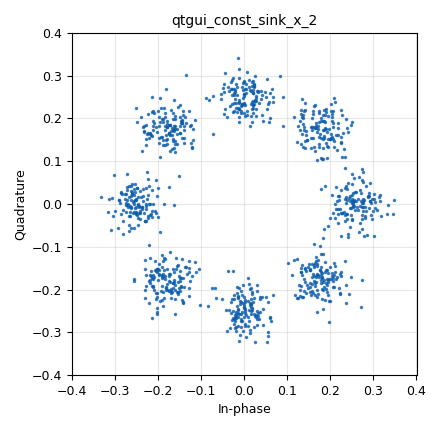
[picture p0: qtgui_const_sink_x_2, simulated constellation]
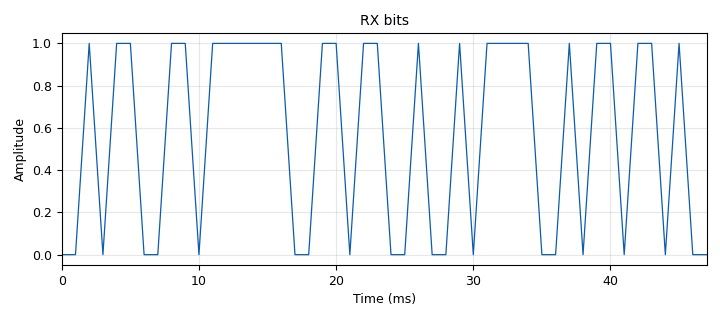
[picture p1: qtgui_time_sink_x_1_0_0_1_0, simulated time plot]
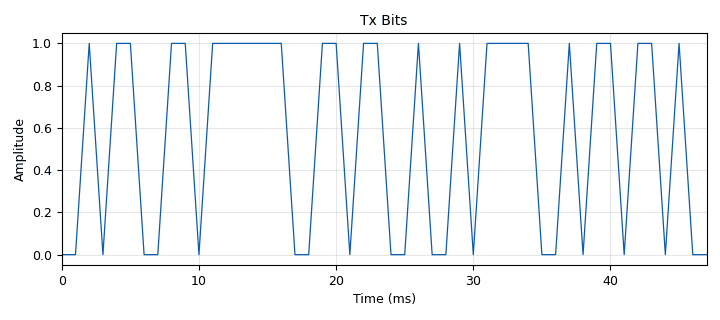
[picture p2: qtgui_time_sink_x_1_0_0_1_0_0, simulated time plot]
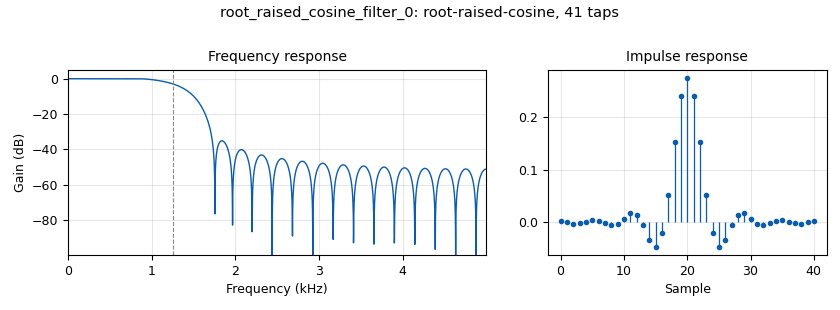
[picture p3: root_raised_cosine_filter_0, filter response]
<?xml version='1.0' encoding='utf-8'?>
<?grc format='1' created='3.7.10'?>
<flow_graph>
<block>
<key>options</key>
<param><key>id</key><value>top_block</value></param>
<param><key>category</key><value>Custom</value></param>
<param><key>generate_options</key><value>qt_gui</value></param>
</block>
<block>
<key>variable</key>
<param><key>id</key><value>EbN0</value></param>
<param><key>value</key><value>10</value></param>
</block>
<block>
<key>variable</key>
<param><key>id</key><value>samp_rate</value></param>
<param><key>value</key><value>10000</value></param>
</block>
<block>
<key>variable_constellation</key>
<param><key>id</key><value>variable_constellation_0</value></param>
<param><key>const_points</key><value>[0.707+0.707j, -0.707+0.707j, -0.707-0.707j, 0.707-0.707j]</value></param>
<param><key>dims</key><value>1</value></param>
<param><key>rot_sym</key><value>4</value></param>
<param><key>precision</key><value>16</value></param>
<param><key>sym_map</key><value>[0, 1, 2, 3]</value></param>
</block>
<block>
<key>variable_constellation</key>
<param><key>id</key><value>variable_constellation_0_0</value></param>
<param><key>const_points</key><value>[0.707+0.707j, -0.707-0.707j]</value></param>
<param><key>dims</key><value>1</value></param>
<param><key>rot_sym</key><value>4</value></param>
<param><key>precision</key><value>16</value></param>
<param><key>sym_map</key><value>[0, 1]</value></param>
</block>
<block>
<key>variable_constellation</key>
<param><key>id</key><value>variable_constellation_0_1</value></param>
<param><key>const_points</key><value>[1+0j,0.707+0.707j, -0.707+0.707j, 0+1j, 0.707-0.707j, 0-1j, -1+0j, -0.707-0.707j]</value></param>
<param><key>dims</key><value>1</value></param>
<param><key>rot_sym</key><value>4</value></param>
<param><key>precision</key><value>16</value></param>
<param><key>sym_map</key><value>[0, 1, 2, 3, 4, 5, 6, 7]</value></param>
</block>
<block>
<key>analog_noise_source_x</key>
<param><key>id</key><value>analog_noise_source_x_0</value></param>
<param><key>amp</key><value>1.0 / math.sqrt(2*2.0 * digital.constellation_8psk().bits_per_symbol() * 10**(EbN0/10))</value></param>
<param><key>noise_type</key><value>analog.GR_GAUSSIAN</value></param>
<param><key>type</key><value>complex</value></param>
<param><key>seed</key><value>0</value></param>
</block>
<block>
<key>analog_random_source_x</key>
<param><key>id</key><value>analog_random_source_x_0</value></param>
<param><key>max</key><value>2</value></param>
<param><key>min</key><value>0</value></param>
<param><key>num_samps</key><value>10000</value></param>
<param><key>type</key><value>byte</value></param>
<param><key>repeat</key><value>True</value></param>
</block>
<block>
<key>blks2_error_rate</key>
<param><key>id</key><value>blks2_error_rate_0</value></param>
<param><key>bits_per_symbol</key><value>2</value></param>
<param><key>type</key><value>'SER'</value></param>
<param><key>win_size</key><value>100000</value></param>
</block>
<block>
<key>blocks_add_xx</key>
<param><key>id</key><value>blocks_add_xx_0</value></param>
<param><key>type</key><value>complex</value></param>
</block>
<block>
<key>blocks_char_to_float</key>
<param><key>id</key><value>blocks_char_to_float_0</value></param>
<param><key>scale</key><value>1</value></param>
</block>
<block>
<key>blocks_char_to_float</key>
<param><key>id</key><value>blocks_char_to_float_0_0</value></param>
<param><key>scale</key><value>1</value></param>
</block>
<block>
<key>blocks_delay</key>
<param><key>id</key><value>blocks_delay_1</value></param>
<param><key>delay</key><value>30</value></param>
<param><key>type</key><value>byte</value></param>
</block>
<block>
<key>blocks_delay</key>
<param><key>id</key><value>blocks_delay_1_0</value></param>
<param><key>delay</key><value>10</value></param>
<param><key>_enabled</key><value>0</value></param>
<param><key>type</key><value>complex</value></param>
</block>
<block>
<key>blocks_pack_k_bits_bb</key>
<param><key>id</key><value>blocks_pack_k_bits_bb_0</value></param>
<param><key>k</key><value>3</value></param>
</block>
<block>
<key>blocks_unpack_k_bits_bb</key>
<param><key>id</key><value>blocks_unpack_k_bits_bb_0</value></param>
<param><key>k</key><value>3</value></param>
</block>
<block>
<key>digital_chunks_to_symbols_xx</key>
<param><key>id</key><value>digital_chunks_to_symbols_xx_0_0</value></param>
<param><key>dimension</key><value>1</value></param>
<param><key>in_type</key><value>byte</value></param>
<param><key>out_type</key><value>complex</value></param>
<param><key>symbol_table</key><value>[1+0j,0.707+0.707j, -0.707+0.707j, 0+1j, 0.707-0.707j, 0-1j, -1+0j, -0.707-0.707j]</value></param>
</block>
<block>
<key>digital_constellation_decoder_cb</key>
<param><key>id</key><value>digital_constellation_decoder_cb_0</value></param>
<param><key>constellation</key><value>variable_constellation_0_1</value></param>
</block>
<block>
<key>import</key>
<param><key>id</key><value>import_0</value></param>
<param><key>import</key><value>import math</value></param>
</block>
<block>
<key>qtgui_const_sink_x</key>
<param><key>id</key><value>qtgui_const_sink_x_0</value></param>
<param><key>autoscale</key><value>True</value></param>
<param><key>_enabled</key><value>0</value></param>
<param><key>size</key><value>6*4+10</value></param>
<param><key>type</key><value>complex</value></param>
</block>
<block>
<key>qtgui_const_sink_x</key>
<param><key>id</key><value>qtgui_const_sink_x_0_0</value></param>
<param><key>autoscale</key><value>True</value></param>
<param><key>_enabled</key><value>0</value></param>
<param><key>size</key><value>6*4+10</value></param>
<param><key>type</key><value>complex</value></param>
</block>
<block>
<key>qtgui_const_sink_x</key>
<param><key>id</key><value>qtgui_const_sink_x_2</value></param>
<param><key>autoscale</key><value>True</value></param>
<param><key>size</key><value>1024</value></param>
<param><key>type</key><value>complex</value></param>
</block>
<block>
<key>qtgui_number_sink</key>
<param><key>id</key><value>qtgui_number_sink_0</value></param>
<param><key>autoscale</key><value>True</value></param>
<param><key>graph_type</key><value>qtgui.NUM_GRAPH_HORIZ</value></param>
<param><key>type</key><value>float</value></param>
<param><key>factor1</key><value>1e4</value></param>
<param><key>label1</key><value>BER</value></param>
<param><key>unit1</key><value>x10^-4</value></param>
<param><key>max</key><value>10</value></param>
<param><key>min</key><value>0</value></param>
</block>
<block>
<key>qtgui_time_sink_x</key>
<param><key>id</key><value>qtgui_time_sink_x_0</value></param>
<param><key>autoscale</key><value>True</value></param>
<param><key>_enabled</key><value>0</value></param>
<param><key>color1</key><value>"blue"</value></param>
<param><key>label1</key><value></value></param>
<param><key>color2</key><value>"red"</value></param>
<param><key>label2</key><value></value></param>
<param><key>name</key><value>"Tx"</value></param>
<param><key>size</key><value>30</value></param>
<param><key>srate</key><value>samp_rate/10</value></param>
<param><key>type</key><value>complex</value></param>
<param><key>update_time</key><value>10</value></param>
</block>
<block>
<key>qtgui_time_sink_x</key>
<param><key>id</key><value>qtgui_time_sink_x_1</value></param>
<param><key>autoscale</key><value>True</value></param>
<param><key>_enabled</key><value>0</value></param>
<param><key>color1</key><value>"blue"</value></param>
<param><key>label1</key><value></value></param>
<param><key>color2</key><value>"red"</value></param>
<param><key>label2</key><value></value></param>
<param><key>name</key><value>"Rx"</value></param>
<param><key>size</key><value>30</value></param>
<param><key>srate</key><value>samp_rate/10</value></param>
<param><key>type</key><value>complex</value></param>
<param><key>update_time</key><value>10</value></param>
</block>
<block>
<key>qtgui_time_sink_x</key>
<param><key>id</key><value>qtgui_time_sink_x_1_0_0_1_0</value></param>
<param><key>autoscale</key><value>True</value></param>
<param><key>color1</key><value>"blue"</value></param>
<param><key>label1</key><value></value></param>
<param><key>name</key><value>"RX bits"</value></param>
<param><key>size</key><value>24*2</value></param>
<param><key>srate</key><value>samp_rate/10</value></param>
<param><key>type</key><value>float</value></param>
<param><key>update_time</key><value>.10</value></param>
</block>
<block>
<key>qtgui_time_sink_x</key>
<param><key>id</key><value>qtgui_time_sink_x_1_0_0_1_0_0</value></param>
<param><key>autoscale</key><value>True</value></param>
<param><key>color1</key><value>"blue"</value></param>
<param><key>label1</key><value></value></param>
<param><key>name</key><value>"Tx Bits"</value></param>
<param><key>size</key><value>24*2</value></param>
<param><key>srate</key><value>samp_rate/10</value></param>
<param><key>type</key><value>float</value></param>
<param><key>update_time</key><value>.10</value></param>
</block>
<block>
<key>root_raised_cosine_filter</key>
<param><key>id</key><value>root_raised_cosine_filter_0</value></param>
<param><key>alpha</key><value>0.35</value></param>
<param><key>type</key><value>interp_fir_filter_ccf</value></param>
<param><key>gain</key><value>1</value></param>
<param><key>interp</key><value>4</value></param>
<param><key>ntaps</key><value>10*4</value></param>
<param><key>samp_rate</key><value>samp_rate</value></param>
<param><key>sym_rate</key><value>samp_rate/4</value></param>
</block>
<block>
<key>root_raised_cosine_filter</key>
<param><key>id</key><value>root_raised_cosine_filter_0_0</value></param>
<param><key>alpha</key><value>0.35</value></param>
<param><key>decim</key><value>4</value></param>
<param><key>type</key><value>fir_filter_ccf</value></param>
<param><key>gain</key><value>1</value></param>
<param><key>interp</key><value>4</value></param>
<param><key>ntaps</key><value>10*4</value></param>
<param><key>samp_rate</key><value>samp_rate</value></param>
<param><key>sym_rate</key><value>samp_rate/4</value></param>
</block>
<connection><source_block_id>analog_noise_source_x_0</source_block_id><sink_block_id>blocks_add_xx_0</sink_block_id><source_key>0</source_key><sink_key>0</sink_key></connection>
<connection><source_block_id>analog_random_source_x_0</source_block_id><sink_block_id>blocks_delay_1</sink_block_id><source_key>0</source_key><sink_key>0</sink_key></connection>
<connection><source_block_id>analog_random_source_x_0</source_block_id><sink_block_id>blocks_pack_k_bits_bb_0</sink_block_id><source_key>0</source_key><sink_key>0</sink_key></connection>
<connection><source_block_id>blks2_error_rate_0</source_block_id><sink_block_id>qtgui_number_sink_0</sink_block_id><source_key>0</source_key><sink_key>0</sink_key></connection>
<connection><source_block_id>blocks_add_xx_0</source_block_id><sink_block_id>root_raised_cosine_filter_0_0</sink_block_id><source_key>0</source_key><sink_key>0</sink_key></connection>
<connection><source_block_id>blocks_char_to_float_0</source_block_id><sink_block_id>qtgui_time_sink_x_1_0_0_1_0</sink_block_id><source_key>0</source_key><sink_key>0</sink_key></connection>
<connection><source_block_id>blocks_char_to_float_0_0</source_block_id><sink_block_id>qtgui_time_sink_x_1_0_0_1_0_0</sink_block_id><source_key>0</source_key><sink_key>0</sink_key></connection>
<connection><source_block_id>blocks_delay_1</source_block_id><sink_block_id>blks2_error_rate_0</sink_block_id><source_key>0</source_key><sink_key>0</sink_key></connection>
<connection><source_block_id>blocks_delay_1</source_block_id><sink_block_id>blocks_char_to_float_0_0</sink_block_id><source_key>0</source_key><sink_key>0</sink_key></connection>
<connection><source_block_id>blocks_delay_1_0</source_block_id><sink_block_id>qtgui_time_sink_x_0</sink_block_id><source_key>0</source_key><sink_key>0</sink_key></connection>
<connection><source_block_id>blocks_pack_k_bits_bb_0</source_block_id><sink_block_id>digital_chunks_to_symbols_xx_0_0</sink_block_id><source_key>0</source_key><sink_key>0</sink_key></connection>
<connection><source_block_id>blocks_unpack_k_bits_bb_0</source_block_id><sink_block_id>blks2_error_rate_0</sink_block_id><source_key>0</source_key><sink_key>1</sink_key></connection>
<connection><source_block_id>blocks_unpack_k_bits_bb_0</source_block_id><sink_block_id>blocks_char_to_float_0</sink_block_id><source_key>0</source_key><sink_key>0</sink_key></connection>
<connection><source_block_id>digital_chunks_to_symbols_xx_0_0</source_block_id><sink_block_id>blocks_delay_1_0</sink_block_id><source_key>0</source_key><sink_key>0</sink_key></connection>
<connection><source_block_id>digital_chunks_to_symbols_xx_0_0</source_block_id><sink_block_id>qtgui_const_sink_x_0_0</sink_block_id><source_key>0</source_key><sink_key>0</sink_key></connection>
<connection><source_block_id>digital_chunks_to_symbols_xx_0_0</source_block_id><sink_block_id>root_raised_cosine_filter_0</sink_block_id><source_key>0</source_key><sink_key>0</sink_key></connection>
<connection><source_block_id>digital_constellation_decoder_cb_0</source_block_id><sink_block_id>blocks_unpack_k_bits_bb_0</sink_block_id><source_key>0</source_key><sink_key>0</sink_key></connection>
<connection><source_block_id>root_raised_cosine_filter_0</source_block_id><sink_block_id>blocks_add_xx_0</sink_block_id><source_key>0</source_key><sink_key>1</sink_key></connection>
<connection><source_block_id>root_raised_cosine_filter_0_0</source_block_id><sink_block_id>digital_constellation_decoder_cb_0</sink_block_id><source_key>0</source_key><sink_key>0</sink_key></connection>
<connection><source_block_id>root_raised_cosine_filter_0_0</source_block_id><sink_block_id>qtgui_const_sink_x_0</sink_block_id><source_key>0</source_key><sink_key>0</sink_key></connection>
<connection><source_block_id>root_raised_cosine_filter_0_0</source_block_id><sink_block_id>qtgui_const_sink_x_2</sink_block_id><source_key>0</source_key><sink_key>0</sink_key></connection>
<connection><source_block_id>root_raised_cosine_filter_0_0</source_block_id><sink_block_id>qtgui_time_sink_x_1</sink_block_id><source_key>0</source_key><sink_key>0</sink_key></connection>
</flow_graph>
